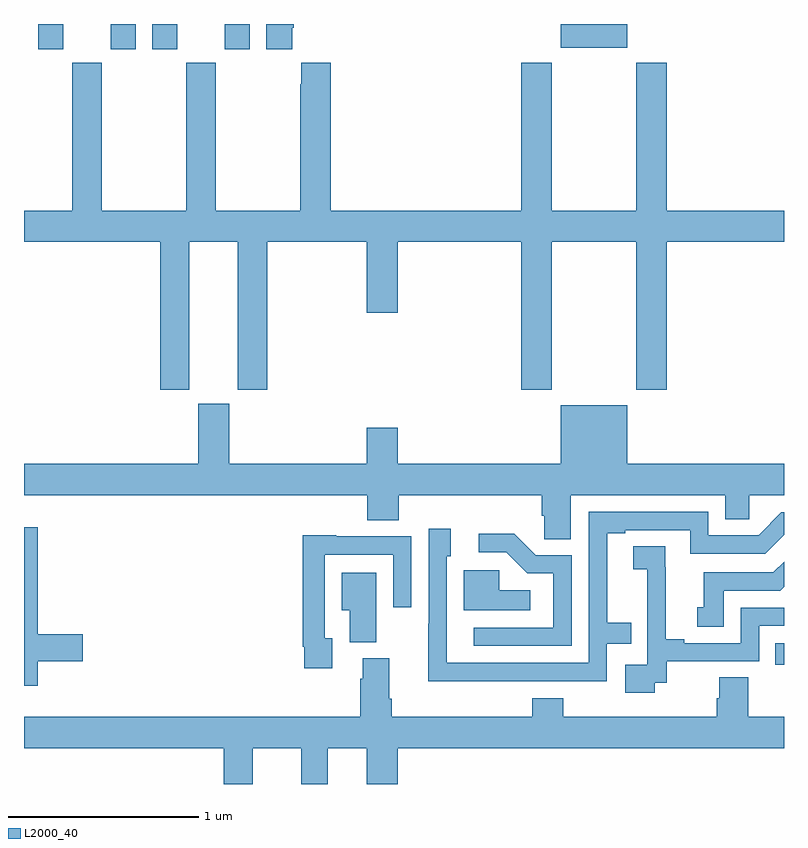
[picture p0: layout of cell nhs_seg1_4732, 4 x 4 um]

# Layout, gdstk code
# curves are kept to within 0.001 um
import gdstk
lib = gdstk.Library(unit=1e-6, precision=1e-09)
def R(c, l, rs):  # rectangles x0, y0, x1, y1
    for r in rs: c.add(gdstk.rectangle(r[:2], r[2:], *l))
def P(c, l, *ps):  # polygons
    for p in ps: c.add(gdstk.Polygon(p, *l))
L2000_40 = (2000, 40)

nhs_seg1_4732 = lib.new_cell('nhs_seg1_4732')
R(nhs_seg1_4732, L2000_40, [(370.954,562.826,371,562.941), (367.076,566.067,367.207,566.199), (367.457,566.067,367.588,566.199), (367.676,566.067,367.807,566.199), (368.057,566.067,368.188,566.199), (369.824,566.075,370.174,566.199)])
P(nhs_seg1_4732, L2000_40, [(368.413,566.179),(368.42,566.179),(368.42,566.199),(368.276,566.199),(368.276,566.067),(368.413,566.067)],
  [(367.87,565.052),(368.126,565.052),(368.126,564.273),(368.279,564.273),(368.279,565.052),(368.804,565.052),(368.804,564.678),(368.968,564.678),(368.968,565.052),(369.617,565.052),(369.617,564.273),(369.777,564.273),(369.777,565.052),(370.222,565.052),(370.222,564.273),(370.382,564.273),(370.382,565.052),(371,565.052),(371,565.216),(370.382,565.216),(370.382,565.996),(370.222,565.996),(370.222,565.216),(369.777,565.216),(369.777,565.996),(369.617,565.996),(369.617,565.216),(368.615,565.216),(368.615,565.996),(368.459,565.996),(368.459,565.883),(368.455,565.883),(368.455,565.216),(368.01,565.216),(368.01,565.996),(367.855,565.996),(367.855,565.216),(367.41,565.216),(367.41,565.996),(367.255,565.996),(367.255,565.216),(367,565.216),(367,565.052),(367.718,565.052),(367.718,564.273),(367.87,564.273)],
  [(369.877,563.72),(370.691,563.72),(370.691,563.593),(370.818,563.593),(370.818,563.72),(371,563.72),(371,563.884),(370.174,563.884),(370.174,564.193),(369.824,564.193),(369.824,563.884),(368.968,563.884),(368.968,564.073),(368.804,564.073),(368.804,563.884),(368.08,563.884),(368.08,564.201),(367.916,564.201),(367.916,563.884),(367,563.884),(367,563.72),(368.807,563.72),(368.807,563.587),(368.972,563.587),(368.972,563.72),(369.725,563.72),(369.725,563.611),(369.738,563.611),(369.738,563.488),(369.877,563.488)],
  [(369.59,562.74),(370.068,562.74),(370.068,562.938),(370.196,562.938),(370.196,563.047),(370.069,563.047),(370.069,563.52),(370.165,563.52),(370.165,563.535),(370.506,563.535),(370.506,563.412),(370.902,563.412),(371,563.51),(371,563.628),(370.986,563.628),(370.866,563.508),(370.602,563.508),(370.602,563.631),(369.972,563.631),(369.972,562.836),(369.225,562.836),(369.225,563.397),(369.247,563.397),(369.247,563.542),(369.129,563.542),(369.128,562.739)],
  [(367.073,562.846),(367.309,562.846),(367.309,562.988),(367.073,562.988),(367.073,563.551),(367,563.551),(367,562.716),(367.073,562.716)],
  [(369.882,563.403),(369.693,563.403),(369.58,563.516),(369.393,563.516),(369.393,563.418),(369.537,563.418),(369.648,563.307),(369.786,563.307),(369.786,563.022),(369.366,563.022),(369.366,562.926),(369.882,562.926)],
  [(368.623,562.965),(368.583,562.965),(368.583,563.406),(368.943,563.406),(368.943,563.13),(369.039,563.13),(369.039,563.502),(368.643,563.502),(368.643,563.509),(368.467,563.509),(368.467,562.921),(368.475,562.921),(368.475,562.809),(368.623,562.809)],
  [(370.32,562.731),(370.382,562.731),(370.382,562.845),(370.869,562.845),(370.869,563.031),(371,563.031),(371,563.127),(370.773,563.127),(370.773,562.941),(370.474,562.941),(370.474,562.961),(370.378,562.961),(370.378,563.339),(370.376,563.339),(370.376,563.45),(370.206,563.45),(370.206,563.329),(370.28,563.329),(370.28,563.131),(370.281,563.131),(370.281,562.827),(370.164,562.827),(370.164,562.68),(370.32,562.68)],
  [(370.684,563.217),(370.98,563.217),(371,563.237),(371,563.369),(370.944,563.313),(370.577,563.313),(370.577,563.13),(370.544,563.13),(370.544,563.026),(370.684,563.026)],
  [(369.664,563.218),(369.501,563.218),(369.501,563.325),(369.314,563.325),(369.314,563.114),(369.664,563.114)],
  [(368.854,563.311),(368.672,563.311),(368.672,563.114),(368.714,563.114),(368.714,562.945),(368.854,562.945)],
  [(368.203,562.388),(368.459,562.388),(368.459,562.199),(368.599,562.199),(368.599,562.388),(368.804,562.388),(368.804,562.199),(368.968,562.199),(368.968,562.388),(371,562.388),(371,562.552),(370.811,562.552),(370.811,562.76),(370.658,562.76),(370.658,562.65),(370.646,562.65),(370.646,562.552),(369.839,562.552),(369.839,562.651),(369.674,562.651),(369.674,562.552),(368.936,562.552),(368.936,562.648),(368.923,562.648),(368.923,562.86),(368.783,562.86),(368.783,562.754),(368.771,562.754),(368.771,562.552),(367,562.552),(367,562.388),(368.051,562.388),(368.051,562.199),(368.203,562.199)])

lib.write_gds('nhs_seg1_4732.gds')
